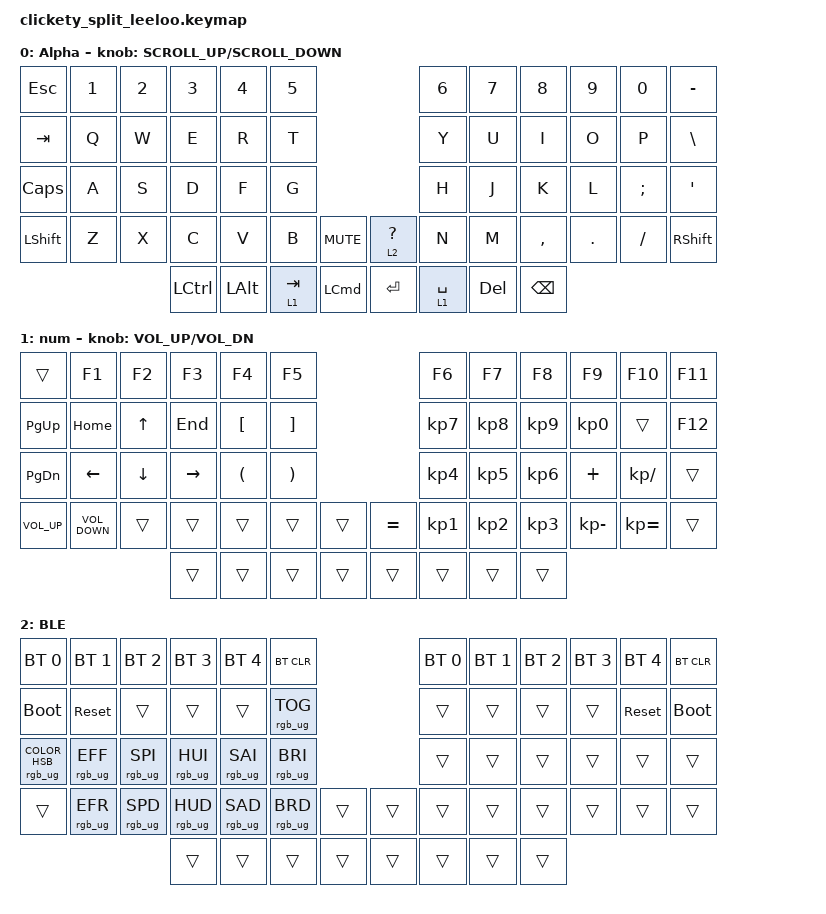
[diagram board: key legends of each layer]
/*
 * Copyright (c) 2023 The ZMK Contributors
 * SPDX-License-Identifier: MIT
 */

#include <behaviors.dtsi>
#include <dt-bindings/zmk/bt.h>
#include <dt-bindings/zmk/keys.h>
#include <dt-bindings/zmk/rgb.h>


// Short versions

#define RGBON   &rgb_ug RGB_ON
#define RGBOFF  &rgb_ug RGB_OFF
#define RGBTOG  &rgb_ug RGB_TOG
#define RGBHUI  &rgb_ug RGB_HUI
#define RGBHUD  &rgb_ug RGB_HUD
#define RGBSAI  &rgb_ug RGB_SAI
#define RGBSAD  &rgb_ug RGB_SAD
#define RGBBRI  &rgb_ug RGB_BRI
#define RGBBRD  &rgb_ug RGB_BRD
#define RGBEFF  &rgb_ug RGB_EFF

/*
 * Assign the cs-gpios pin to 4.
 * Uncomment these next few lines if implementing nice!view Displays
 */

nice_view_spi: &spi0 { cs-gpios = <&pro_micro 4 GPIO_ACTIVE_HIGH>; };

/ {
    keymap {
        compatible = "zmk,keymap";

        default_layer {
            label = "Alpha";
            bindings = <
&kp ESC         &kp N1  &kp N2  &kp N3            &kp N4        &kp N5                                       &kp N6       &kp N7      &kp N8         &kp N9   &kp N0    &kp MINUS
&kp TAB         &kp Q   &kp W   &kp E             &kp R         &kp T                                        &kp Y        &kp U       &kp I          &kp O    &kp P     &kp BACKSLASH
&kp CAPS        &kp A   &kp S   &kp D             &kp F         &kp G                                        &kp H        &kp J       &kp K          &kp L    &kp SEMI  &kp SQT
&kp LEFT_SHIFT  &kp Z   &kp X   &kp C             &kp V         &kp B      &kp K_MUTE        &lt 2 QUESTION  &kp N        &kp M       &kp COMMA      &kp DOT  &kp FSLH  &kp RIGHT_SHIFT
                                &kp LEFT_CONTROL  &kp LEFT_ALT  &lt 1 TAB  &kp LEFT_COMMAND  &kp ENTER       &lt 1 SPACE  &kp DELETE  &kp BACKSPACE
            >;

            sensor-bindings = <&inc_dec_kp K_SCROLL_UP K_SCROLL_DOWN>;
        };

        lower_layer {
            label = "num";
            bindings = <
&trans           &kp F1             &kp F2          &kp F3           &kp F4                &kp F5                                    &kp F6           &kp F7           &kp F8           &kp F9           &kp F10        &kp F11
&kp PAGE_UP      &kp HOME           &kp UP_ARROW    &kp END          &kp LEFT_BRACKET      &kp RIGHT_BRACKET                         &kp KP_NUMBER_7  &kp KP_NUMBER_8  &kp KP_NUMBER_9  &kp KP_NUMBER_0  &trans         &kp F12
&kp PAGE_DOWN    &kp LEFT_ARROW     &kp DOWN_ARROW  &kp RIGHT_ARROW  &kp LEFT_PARENTHESIS  &kp RIGHT_PARENTHESIS                     &kp KP_NUMBER_4  &kp KP_NUMBER_5  &kp KP_NUMBER_6  &kp PLUS         &kp KP_DIVIDE  &trans
&kp C_VOLUME_UP  &kp C_VOLUME_DOWN  &trans          &trans           &trans                &trans                 &trans  &kp EQUAL  &kp KP_NUMBER_1  &kp KP_NUMBER_2  &kp KP_NUMBER_3  &kp KP_SUBTRACT  &kp KP_EQUAL   &trans
                                                    &trans           &trans                &trans                 &trans  &trans     &trans           &trans           &trans
            >;

            sensor-bindings = <&inc_dec_kp C_VOL_UP C_VOL_DN>;
        };

        firmware_layer {
            bindings = <
&bt BT_SEL 0                    &bt BT_SEL 1     &bt BT_SEL 2     &bt BT_SEL 3     &bt BT_SEL 4     &bt BT_CLR                       &bt BT_SEL 0  &bt BT_SEL 1  &bt BT_SEL 2  &bt BT_SEL 3  &bt BT_SEL 4  &bt BT_CLR
&bootloader                     &sys_reset       &trans           &trans           &trans           &rgb_ug RGB_TOG                  &trans        &trans        &trans        &trans        &sys_reset    &bootloader
&rgb_ug RGB_COLOR_HSB(0,0,100)  &rgb_ug RGB_EFF  &rgb_ug RGB_SPI  &rgb_ug RGB_HUI  &rgb_ug RGB_SAI  &rgb_ug RGB_BRI                  &trans        &trans        &trans        &trans        &trans        &trans
&trans                          &rgb_ug RGB_EFR  &rgb_ug RGB_SPD  &rgb_ug RGB_HUD  &rgb_ug RGB_SAD  &rgb_ug RGB_BRD  &trans  &trans  &trans        &trans        &trans        &trans        &trans        &trans
                                                                  &trans           &trans           &trans           &trans  &trans  &trans        &trans        &trans
            >;

            label = "BLE";
        };
    };
};
